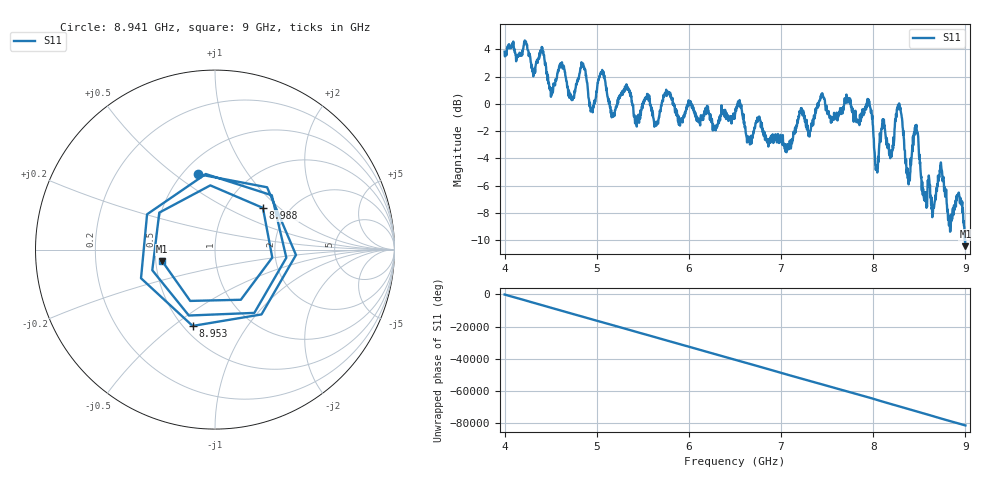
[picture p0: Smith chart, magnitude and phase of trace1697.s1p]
! Created with skrf 1.8.0 (http://scikit-rf.org).
# Hz S RI R 50.0
!freq ReS11 ImS11
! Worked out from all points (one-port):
!   1601 points, 4 GHz to 9 GHz, reference 50 ohm
!   lowest |S11| = -10.4 dB at 9 GHz (marker M1), VSWR 1.86, Z = 27.1 - j3.89 ohm
!   |S11| at or under -10 dB: 8.993277 GHz to 8.995806 GHz (2.529 MHz wide, 0.0281 % of centre); 8.99722 GHz to end of sweep
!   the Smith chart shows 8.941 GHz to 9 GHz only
!   S11 on the Smith chart (normalised r, x): 8.941 GHz: 0.59, +0.61; 8.953 GHz: 0.56, -0.59; 8.988 GHz: 1.48, +0.79; 9 GHz: 0.54, -0.08
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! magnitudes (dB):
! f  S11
! 4 GHz  3.8
! 4.406 GHz  4.1
! 4.509 GHz  0.9
! 4.625 GHz  2.9
! 4.728 GHz  0.3
! 4.853 GHz  2.9
! 4.944 GHz  -0.4
! 5.05 GHz  2.3
! 5.169 GHz  -0.9
! 5.25 GHz  0.4
! 5.875 GHz  -0.8
! 6.5 GHz  -0.7
! 7.125 GHz  -2.7
! 7.75 GHz  0.3
! 7.959 GHz  -0.2
! 8.038 GHz  -4.9
! 8.109 GHz  -1.5
! 8.197 GHz  -3.7
! 8.281 GHz  0.0
! 8.375 GHz  -5.5
! 8.462 GHz  -1.8
! 8.559 GHz  -7.1
! 8.738 GHz  -4.6
! 8.831 GHz  -8.7
! 8.941 GHz  -7.3
! 8.953 GHz  -7.1
! 8.988 GHz  -9.0
! 9 GHz  -10.4
